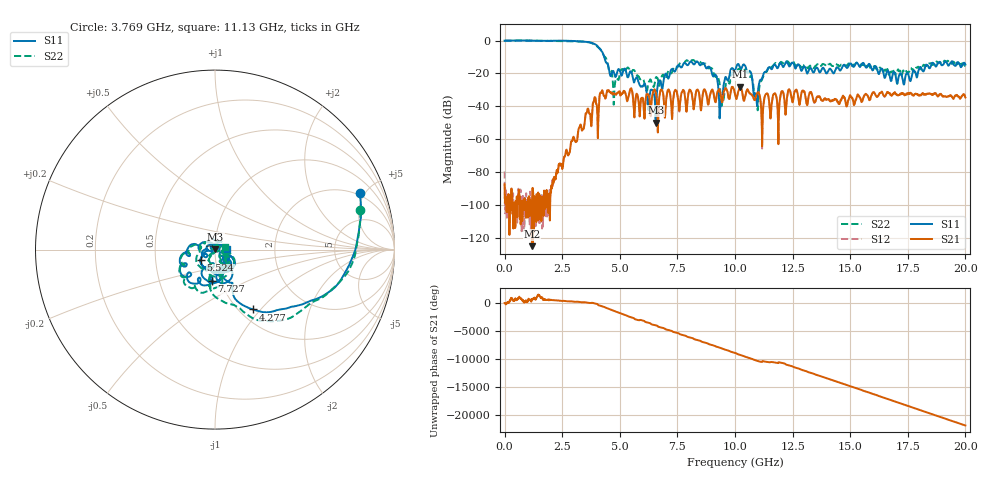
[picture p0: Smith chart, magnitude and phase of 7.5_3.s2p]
#  HZ  S  RI  R  50.00
! Rohde & Schwarz Vector Network Analyzer
! Rohde-Schwarz,ZNB20-2Port,1311601062102128,3.60
! Created: UTC 4/29/2024, 2:54:39 PM
! freq[Hz]  re:S11  im:S11  re:S21  im:S21  re:S12  im:S12  re:S22  im:S22
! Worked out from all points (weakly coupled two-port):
!   2007 points, 100 kHz to 20 GHz, reference 50 ohm
!   highest |S21| = -28.02 dB at 10.22 GHz (marker M1); lowest = -125.3 dB at 1.187 GHz (marker M2)
!   lowest |S11| = -49.9 dB at 6.56 GHz (marker M3), VSWR 1.01, Z = 50.3 + j0.19 ohm
!   |S11| at or under -10 dB: 4.325 GHz to end of sweep
!   |S22| runs from -42.5 to 0.1 dB; largest |S21 - S12| = 0.0023
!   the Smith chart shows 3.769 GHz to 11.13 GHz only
!   S11 on the Smith chart (normalised r, x): 3.769 GHz: 1.80, +4.59; 4.277 GHz: 1.15, -0.91; 5.524 GHz: 0.85, -0.10; 7.727 GHz: 0.91, -0.33; 11.13 GHz: 1.14, +0.01
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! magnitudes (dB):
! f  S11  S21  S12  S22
! 100 kHz  0.0  -87.5  -79.8  0.1
! 1.187 GHz  0.0  -125.3  -97.4  0.0
! 2.233 GHz  0.0  -81.0  -81.3  -0.3
! 3.34 GHz  -0.6  -53.9  -53.6  -0.6
! 3.769 GHz  -1.2  -51.7  -52.2  -1.5
! 4.277 GHz  -8.1  -32.4  -32.2  -8.4
! 4.776 GHz  -20.8  -32.3  -32.3  -28.1
! 5.524 GHz  -20.1  -30.3  -30.3  -19.0
! 6.56 GHz  -49.9  -31.6  -31.6  -22.6
! 6.67 GHz  -25.6  -45.3  -44.8  -24.8
! 7.727 GHz  -15.2  -30.7  -30.7  -13.7
! 8.883 GHz  -16.0  -35.7  -35.7  -16.9
! 9.382 GHz  -37.8  -33.2  -33.4  -34.2
! 10 GHz  -18.5  -32.6  -32.5  -19.9
! 10.22 GHz  -16.3  -28.0  -28.0  -17.1
! 10.66 GHz  -18.8  -32.3  -32.5  -21.9
! 10.9 GHz  -32.9  -34.7  -34.6  -34.5
! 11.13 GHz  -23.7  -39.6  -39.6  -24.7
! 11.73 GHz  -14.6  -32.1  -32.2  -13.9
! 13.34 GHz  -18.0  -32.8  -32.8  -15.3
! 16.67 GHz  -19.1  -31.9  -31.8  -20.5
! 20 GHz  -14.6  -34.7  -34.8  -14.3
